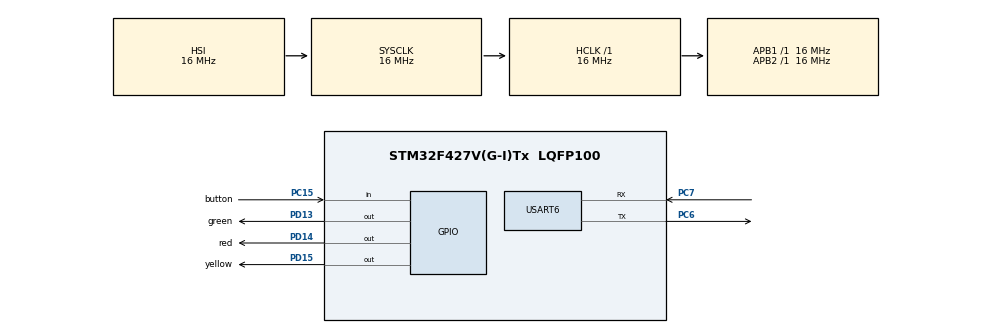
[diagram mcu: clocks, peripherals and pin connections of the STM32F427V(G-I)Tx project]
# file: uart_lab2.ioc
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Mcu.Family=STM32F4
Mcu.Name=STM32F427V(G-I)Tx
Mcu.Package=LQFP100
NVIC.PriorityGroup=NVIC_PRIORITYGROUP_4
NVIC.USART6_IRQn=true\:0\:0\:false\:false\:true\:true\:true\:true
PA13.Mode=JTAG_5_pins
PA13.Signal=SYS_JTMS-SWDIO
PA14.Mode=JTAG_5_pins
PA14.Signal=SYS_JTCK-SWCLK
PA15.Mode=JTAG_5_pins
PA15.Signal=SYS_JTDI
PB3.Mode=JTAG_5_pins
PB3.Signal=SYS_JTDO-SWO
PB4.Mode=JTAG_5_pins
PB4.Signal=SYS_JTRST
PC15/OSC32_OUT.GPIO_Label=button
PC15/OSC32_OUT.Signal=GPIO_Input
PC6.Mode=Asynchronous
PC6.Signal=USART6_TX
PC7.Mode=Asynchronous
PC7.Signal=USART6_RX
PD13.GPIO_Label=green
PD13.Signal=GPIO_Output
PD14.GPIO_Label=red
PD14.Signal=GPIO_Output
PD15.GPIO_Label=yellow
PD15.Signal=GPIO_Output
ProjectManager.HeapSize=0x200
ProjectManager.StackSize=0x400
ProjectManager.TargetToolchain=STM32CubeIDE
RCC.AHBFreq_Value=16000000
RCC.APB1Freq_Value=16000000
RCC.APB2Freq_Value=16000000
RCC.CortexFreq_Value=16000000
RCC.HSE_VALUE=25000000
RCC.HSI_VALUE=16000000
RCC.LSE_VALUE=32768
RCC.SYSCLKFreq_VALUE=16000000
RCC.VCOOutputFreq_Value=192000000
USART6.VirtualMode=VM_ASYNC
board=custom

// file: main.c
/* USER CODE BEGIN Header */
/**
  ******************************************************************************
  * @file           : main.c
  * @brief          : Main program body
  ******************************************************************************
  * @attention
  *
  * Copyright (c) 2023 STMicroelectronics.
  * All rights reserved.
  *
  * This software is licensed under terms that can be found in the LICENSE file
  * in the root directory of this software component.
  * If no LICENSE file comes with this software, it is provided AS-IS.
  *
  ******************************************************************************
  */
/* USER CODE END Header */
#include "main.h"

/* USER CODE BEGIN Includes */
#include <stdlib.h>
#include <string.h>
/* USER CODE END Includes */

 UART_HandleTypeDef huart6;

void SystemClock_Config(void);
static void MX_GPIO_Init(void);
static void MX_USART6_UART_Init(void);

/* USER CODE BEGIN 0 */
uint8_t codes[8];
uint8_t pointer_read = 0;
uint8_t pointer_write = 0;
uint8_t mode = 'i';
_Bool received = 0;
_Bool changed = 0;
void delay_analog(uint32_t duration)
  {
    uint32_t startTime = HAL_GetTick();
    while ((HAL_GetTick() - startTime) < duration)
    {
    }
  }
void blink_short(uint8_t time){
	while(time > 0){
        HAL_GPIO_WritePin(GPIOD, GPIO_PIN_13, GPIO_PIN_SET);
        HAL_Delay(100);
        HAL_GPIO_WritePin(GPIOD, GPIO_PIN_13, GPIO_PIN_RESET);
        HAL_Delay(100);
		time = time - 1;
	}
}
void blink_long(uint8_t time){
	while(time > 0){
        HAL_GPIO_WritePin(GPIOD, GPIO_PIN_13, GPIO_PIN_SET);
        HAL_Delay(1000);
        HAL_GPIO_WritePin(GPIOD, GPIO_PIN_13, GPIO_PIN_RESET);
        HAL_Delay(1000);
		time = time - 1;
	}
}
//after receiving code will play it
void blink_code(uint32_t code){
	char string[5] = {0};
	itoa(code,string,10);
	int len = strlen(string);
	int p = 0;
	while(len > 0){
		char c = string[p];
		//change mode between interrupt and polling
		if(c=='3'){
			changed = 1;
		}else if(c=='1'){
			blink_long(1);
		}else if(c=='2'){
			blink_short(1);
		}
		len = len - 1;
		p = p + 1;
	}
}
void send_char(uint8_t* c){
	if(mode == 'p'){
		HAL_UART_Transmit(&huart6,c,1,10);
	}
	else if(mode == 'i'){
		HAL_UART_Transmit_IT(&huart6,c,1);
	}
}
void send(uint32_t code){
		// 2-short, 1-long
	    switch(code){
	    case 21:
	    	send_char((uint8_t*)"a");
	    	//HAL_UART_Transmit_IT(&huart6,(uint8_t*)"a",1);
	        break;
	    case 1222:
	    	send_char((uint8_t*)"b");
	    	//HAL_UART_Transmit_IT(&huart6,(uint8_t*)"b",1);
	        break;
	    case 1212:
	    	send_char((uint8_t*)"c");
	    	//HAL_UART_Transmit_IT(&huart6,(uint8_t*)"c",1);
	        break;
	    case 122:
	    	send_char((uint8_t*)"d");
	    	//HAL_UART_Transmit_IT(&huart6,(uint8_t*)"d",1);
	        break;
	    case 2:
	    	send_char((uint8_t*)"e");
	    	//HAL_UART_Transmit_IT(&huart6,(uint8_t*)"e",1);
	        break;
	    case 2212:
	    	send_char((uint8_t*)"f");
	    	//HAL_UART_Transmit_IT(&huart6,(uint8_t*)"f",1);
	        break;
	    case 112:
	    	send_char((uint8_t*)"g");
	    	//HAL_UART_Transmit_IT(&huart6,(uint8_t*)"g",1);
	        break;
	    case 2222:
	    	send_char((uint8_t*)"h");
	    	//HAL_UART_Transmit_IT(&huart6,(uint8_t*)"h",1);
	        break;
	    case 22:
	    	send_char((uint8_t*)"i");
	    	//HAL_UART_Transmit_IT(&huart6,(uint8_t*)"i",1);
	        break;
	    case 2111:
	    	send_char((uint8_t*)"j");
	    	//HAL_UART_Transmit_IT(&huart6,(uint8_t*)"j",1);
	        break;
	    case 121:
	    	send_char((uint8_t*)"k");
	    	//HAL_UART_Transmit_IT(&huart6,(uint8_t*)"k",1);
	        break;
	    case 2122:
	    	send_char((uint8_t*)"l");
	    	//HAL_UART_Transmit_IT(&huart6,(uint8_t*)"l",1);
	        break;
	    case 11:
	    	send_char((uint8_t*)"m");
	    	//HAL_UART_Transmit_IT(&huart6,(uint8_t*)"m",1);
	        break;
	    case 12:
	    	send_char((uint8_t*)"n");
	    	//HAL_UART_Transmit_IT(&huart6,(uint8_t*)"n",1);
	        break;
	    case 111:
	    	send_char((uint8_t*)"o");
	    	//HAL_UART_Transmit_IT(&huart6,(uint8_t*)"o",1);
	        break;
	    case 2112:
	    	send_char((uint8_t*)"p");
	    	//HAL_UART_Transmit_IT(&huart6,(uint8_t*)"p",1);
	        break;
	    case 1121:
	    	send_char((uint8_t*)"q");
	    	//HAL_UART_Transmit_IT(&huart6,(uint8_t*)"q",1);
	        break;
	    case 212:
	    	send_char((uint8_t*)"r");
	    	//HAL_UART_Transmit_IT(&huart6,(uint8_t*)"r",1);
	        break;
	    case 222:
	    	send_char((uint8_t*)"s");
	    	//HAL_UART_Transmit_IT(&huart6,(uint8_t*)"s",1);
	        break;
	    case 1:
	    	send_char((uint8_t*)"t");
	    	//HAL_UART_Transmit_IT(&huart6,(uint8_t*)"t",1);
	        break;
	    case 221:
	    	send_char((uint8_t*)"u");
	    	//HAL_UART_Transmit_IT(&huart6,(uint8_t*)"u",1);
	        break;
	    case 2221:
	    	send_char((uint8_t*)"v");
	    	//HAL_UART_Transmit_IT(&huart6,(uint8_t*)"v",1);
	        break;
	    case 211:
	    	send_char((uint8_t*)"w");
	    	//HAL_UART_Transmit_IT(&huart6,(uint8_t*)"w",1);
	        break;
	    case 1221:
	    	send_char((uint8_t*)"x");
	    	//HAL_UART_Transmit_IT(&huart6,(uint8_t*)"x",1);
	        break;
	    case 1211:
	    	send_char((uint8_t*)"y");
	    	//HAL_UART_Transmit_IT(&huart6,(uint8_t*)"y",1);
	        break;
	    case 1122:
	    	send_char((uint8_t*)"z");
	    	//HAL_UART_Transmit_IT(&huart6,(uint8_t*)"z",1);
	        break;
	    default:
	    	send_char((uint8_t*)"-");
	    	//HAL_UART_Transmit_IT(&huart6,(uint8_t*)"-",1);
	    	break;
	    }
 }
//encrypt received code
uint32_t encrypt(uint8_t c){
	uint32_t result = 0;
    switch(c){
    case 'a':
        result = 21;
        break;
    case 'b':
        result = 1222;
        break;
    case 'c':
        result = 1212;
        break;
    case 'd':
        result=122;
        break;
    case 'e':
        result=2;
        break;
    case 'f':
        result=2212;
        break;
    case 'g':
    	result=112;
        break;
    case 'h':
    	result=2222;
        break;
    case 'i':
    	result=22;
        break;
    case 'j':
    	result=2111;
        break;
    case 'k':
    	result=121;
        break;
    case 'l':
    	result=2212;
        break;
    case 'm':
    	result=11;
        break;
    case 'n':
    	result=12;
        break;
    case 'o':
    	result=111;
        break;
    case 'p':
    	result=2112;
        break;
    case 'q':
    	result=1121;
        break;
    case 'r':
    	result=212;
        break;
    case 's':
    	result=222;
        break;
    case 't':
    	result=1;
        break;
    case 'u':
    	result=221;
        break;
    case 'v':
    	result=2221;
        break;
    case 'w':
    	result=211;
        break;
    case 'x':
    	result=1221;
        break;
    case 'y':
    	result=1211;
        break;
    case 'z':
    	result=1122;
        break;
    case '+':
    	result=3;
    	break;
    default:
    	result='0';
    	break;
    }
    return result;
}
void HAL_UART_RxCpltCallback(UART_HandleTypeDef *huart){
	received = 1;
}
/* USER CODE END 0 */

int main(void)
{
  /* USER CODE BEGIN 1 */
  void morse(const uint8_t *code_morse)
  {
	uint32_t code = 0;
	uint32_t short_code = 2;
	uint32_t long_code = 1;
	uint32_t k = 1;
	for (uint8_t i = 0; code_morse[i] != 2; i++)
	{
	  //long Morse code
	  if (code_morse[i])
	  {
		code = code*k + long_code;
		blink_long(1);
	  }
	  //short Morse code
	  else
	  {
		code = code*k + short_code;
		blink_short(1);
	  }
	  delay_analog(2000);
	  k = k * 10;
	}
//	char s[] = "hello world\n";
//	HAL_UART_Transmit(&huart6,(uint8_t*)s,sizeof(s),10);
	send(code);
 }
  /* USER CODE END 1 */

  /* MCU Configuration--------------------------------------------------------*/

  /* Reset of all peripherals, Initializes the Flash interface and the Systick. */
  HAL_Init();

  /* Configure the system clock */
  SystemClock_Config();

  /* Initialize all configured peripherals */
  MX_GPIO_Init();
  MX_USART6_UART_Init();
  /* USER CODE BEGIN 2 */
  void delay_analog(uint32_t duration)
   {
	  uint32_t startTime = HAL_GetTick();
	  while ((HAL_GetTick() - startTime) < duration)
	  {
	  }
   }
  void received_chars(){
	  if(received){
		received = 0;
		int len = sizeof(codes)/sizeof(uint8_t);
		int i = 0;
		while(i<len){
			blink_code(encrypt(codes[i]));
			i = i + 1;
		}
		HAL_UART_Receive_IT(&huart6,codes,1);
	}
  }
  void mode_changed(){
	  if(changed){
		changed = 0;
		if(mode == 'i'){
			mode = 'p';
			char s [] = "Turning to poling\r\n";
			HAL_UART_Abort_IT(&huart6);
			HAL_NVIC_DisableIRQ(USART6_IRQn);
			HAL_UART_Transmit(&huart6,(uint8_t*)s,sizeof(s),10);
		}else{
			mode = 'i';
			char s [] = "Turning to interrupt\r\n";
			HAL_UART_Abort_IT(&huart6);
			HAL_NVIC_EnableIRQ(USART6_IRQn);
			HAL_UART_Transmit(&huart6,(uint8_t*)s,sizeof(s),100);
			HAL_UART_Receive_IT(&huart6,codes,1);
		}
	}
  }
	uint8_t code_morse[50];
	uint8_t last_morse_index = 0;
	uint32_t duration = 5000;
	uint32_t log_pressed_time = 2000;
	uint32_t last_time_pressed = 0;
	_Bool pressed_flag = 0;
	_Bool long_pressed_flag = 0;
	HAL_UART_Receive_IT(&huart6,codes,1);
  /* USER CODE END 2 */

  /* Infinite loop */
  /* USER CODE BEGIN WHILE */
  while (1)
  {
	  	received_chars();
	  	mode_changed();
	  	if(mode=='p'){
			// If received 8 codes in 5s, then we can read them, else read again
			while(mode == 'p'){
				if(HAL_UART_Receive(&huart6,codes,1,1000)==HAL_OK){
					uint8_t k = 0;
					uint8_t n = sizeof(codes)/sizeof(uint8_t);
					while(k<n){
						blink_code(encrypt(codes[k]));
						k = k + 1;
					}
				}
			  	mode_changed();
			}
		}
		uint32_t time_start = HAL_GetTick();
		while (HAL_GPIO_ReadPin(GPIOC, GPIO_PIN_15) == GPIO_PIN_RESET)
		{
		  pressed_flag = 1;
		  if (HAL_GetTick() - time_start > log_pressed_time)
		  {
			long_pressed_flag = 1;
		  }
		}
		if (pressed_flag)
		{
		  code_morse[last_morse_index] = long_pressed_flag;
		  if (long_pressed_flag)
		  {
			HAL_GPIO_WritePin(GPIOD, GPIO_PIN_14, GPIO_PIN_SET);
			delay_analog(1000);
			HAL_GPIO_WritePin(GPIOD, GPIO_PIN_14, GPIO_PIN_RESET);
			delay_analog(1000);
		  }
		  else
		  {
			HAL_GPIO_WritePin(GPIOD, GPIO_PIN_15, GPIO_PIN_SET);
			delay_analog(1000);
			HAL_GPIO_WritePin(GPIOD, GPIO_PIN_15, GPIO_PIN_RESET);
			delay_analog(1000);
		  }
		  last_morse_index++;
		  last_time_pressed = time_start;
		  pressed_flag = 0;
		  long_pressed_flag = 0;
		}
		if (HAL_GPIO_ReadPin(GPIOC, GPIO_PIN_15) == GPIO_PIN_SET && HAL_GetTick() - last_time_pressed > duration)
		{
		  if (last_morse_index > 0)
		  {
			code_morse[last_morse_index] = 2;
			morse(code_morse);
			last_morse_index = 0;
		  }
		}
    /* USER CODE END WHILE */

  }
}

void SystemClock_Config(void)
{
  RCC_OscInitTypeDef RCC_OscInitStruct = {0};
  RCC_ClkInitTypeDef RCC_ClkInitStruct = {0};

  /** Configure the main internal regulator output voltage
  */
  __HAL_RCC_PWR_CLK_ENABLE();
  __HAL_PWR_VOLTAGESCALING_CONFIG(PWR_REGULATOR_VOLTAGE_SCALE3);

  /** Initializes the RCC Oscillators according to the specified parameters
  * in the RCC_OscInitTypeDef structure.
  */
  RCC_OscInitStruct.OscillatorType = RCC_OSCILLATORTYPE_HSI;
  RCC_OscInitStruct.HSIState = RCC_HSI_ON;
  RCC_OscInitStruct.HSICalibrationValue = RCC_HSICALIBRATION_DEFAULT;
  RCC_OscInitStruct.PLL.PLLState = RCC_PLL_NONE;
  if (HAL_RCC_OscConfig(&RCC_OscInitStruct) != HAL_OK)
  {
    Error_Handler();
  }

  /** Initializes the CPU, AHB and APB buses clocks
  */
  RCC_ClkInitStruct.ClockType = RCC_CLOCKTYPE_HCLK|RCC_CLOCKTYPE_SYSCLK
                              |RCC_CLOCKTYPE_PCLK1|RCC_CLOCKTYPE_PCLK2;
  RCC_ClkInitStruct.SYSCLKSource = RCC_SYSCLKSOURCE_HSI;
  RCC_ClkInitStruct.AHBCLKDivider = RCC_SYSCLK_DIV1;
  RCC_ClkInitStruct.APB1CLKDivider = RCC_HCLK_DIV1;
  RCC_ClkInitStruct.APB2CLKDivider = RCC_HCLK_DIV1;

  if (HAL_RCC_ClockConfig(&RCC_ClkInitStruct, FLASH_LATENCY_0) != HAL_OK)
  {
    Error_Handler();
  }
}

static void MX_USART6_UART_Init(void)
{

  huart6.Instance = USART6;
  huart6.Init.BaudRate = 115200;
  huart6.Init.WordLength = UART_WORDLENGTH_8B;
  huart6.Init.StopBits = UART_STOPBITS_1;
  huart6.Init.Parity = UART_PARITY_NONE;
  huart6.Init.Mode = UART_MODE_TX_RX;
  huart6.Init.HwFlowCtl = UART_HWCONTROL_NONE;
  huart6.Init.OverSampling = UART_OVERSAMPLING_16;
  if (HAL_UART_Init(&huart6) != HAL_OK)
  {
    Error_Handler();
  }

}

static void MX_GPIO_Init(void)
{
  GPIO_InitTypeDef GPIO_InitStruct = {0};

  /* GPIO Ports Clock Enable */
  __HAL_RCC_GPIOC_CLK_ENABLE();
  __HAL_RCC_GPIOD_CLK_ENABLE();
  __HAL_RCC_GPIOA_CLK_ENABLE();
  __HAL_RCC_GPIOB_CLK_ENABLE();

  /*Configure GPIO pin Output Level */
  HAL_GPIO_WritePin(GPIOD, green_Pin|red_Pin|yellow_Pin, GPIO_PIN_RESET);

  /*Configure GPIO pin : button_Pin */
  GPIO_InitStruct.Pin = button_Pin;
  GPIO_InitStruct.Mode = GPIO_MODE_INPUT;
  GPIO_InitStruct.Pull = GPIO_NOPULL;
  HAL_GPIO_Init(button_GPIO_Port, &GPIO_InitStruct);

  /*Configure GPIO pins : green_Pin red_Pin yellow_Pin */
  GPIO_InitStruct.Pin = green_Pin|red_Pin|yellow_Pin;
  GPIO_InitStruct.Mode = GPIO_MODE_OUTPUT_PP;
  GPIO_InitStruct.Pull = GPIO_NOPULL;
  GPIO_InitStruct.Speed = GPIO_SPEED_FREQ_LOW;
  HAL_GPIO_Init(GPIOD, &GPIO_InitStruct);

}

void Error_Handler(void)
{
  __disable_irq();
  while (1)
  {
  }
}
